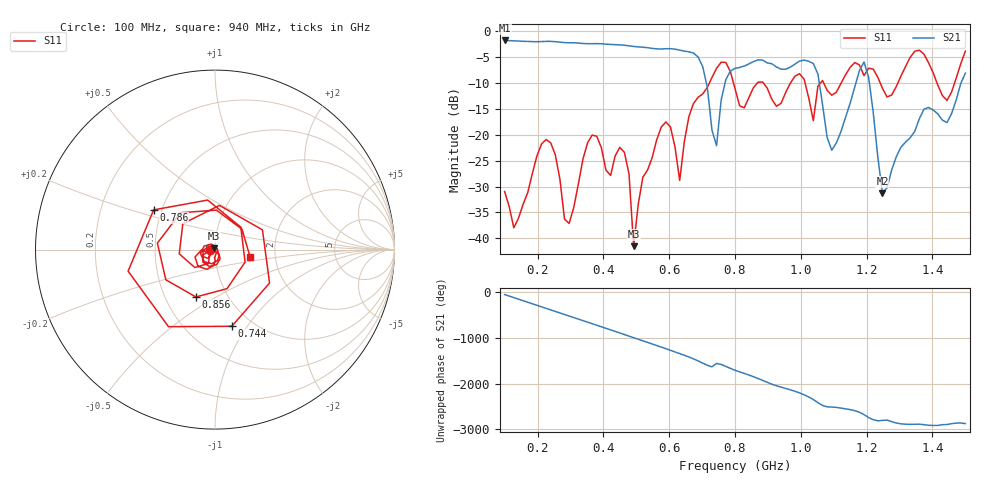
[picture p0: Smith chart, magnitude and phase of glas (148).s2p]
! NanoVNA-App
! Date: 2025-09-25 15:56:37
! Start: 100MHz Stop: 1,5GHz Points: 101
! S-Parameter data: F S11 S21 S12 S22
# Hz S RI R 50
!  Frequency  S11_Real  S11_Imag  S21_Real  S21_Imag  S12_Real  S12_Imag  S22_Real  S22_Imag
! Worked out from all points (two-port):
!   101 points, 100 MHz to 1.5 GHz, reference 50 ohm
!   highest |S21| = -1.80 dB at 100 MHz (marker M1); lowest = -31.3 dB at 1.248 GHz (marker M2)
!   |S21| within 3 dB of the highest: start of sweep to 684.3 MHz
!   lowest |S11| = -41.5 dB at 492 MHz (marker M3), VSWR 1.02, Z = 49.5 + j0.648 ohm
!   |S11| at or under -10 dB: start of sweep to 722.3 MHz; 795.4 MHz to 868.1 MHz (72.73 MHz wide, 8.74 % of centre); 886.1 MHz to 968.6 MHz (82.43 MHz wide, 8.89 % of centre) (the widest 3 of 7)
!   S12 and S22 are empty: the file has one direction only
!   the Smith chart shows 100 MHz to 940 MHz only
!   S11 on the Smith chart (normalised r, x): 100 MHz: 0.95, -0.01; 744 MHz: 0.81, -0.85; 786 MHz: 0.45, +0.24; 856 MHz: 0.71, -0.41; 940 MHz: 1.48, -0.14
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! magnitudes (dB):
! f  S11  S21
! 100 MHz  -31.0  -1.8
! 128 MHz  -38.0  -1.9
! 226 MHz  -20.9  -2.0
! 296 MHz  -37.1  -2.2
! 338 MHz  -24.7  -2.4
! 464 MHz  -23.4  -2.7
! 492 MHz  -41.5  -3.0
! 576 MHz  -18.5  -3.5
! 632 MHz  -28.8  -3.7
! 702 MHz  -12.1  -6.9
! 744 MHz  -7.2  -22.1
! 786 MHz  -7.8  -7.7
! 800 MHz  -11.1  -7.2
! 856 MHz  -10.9  -5.9
! 940 MHz  -13.9  -7.4
! 996 MHz  -8.2  -5.8
! 1.038 GHz  -17.3  -6.3
! 1.094 GHz  -12.4  -23.0
! 1.192 GHz  -8.6  -6.0
! 1.248 GHz  -11.0  -31.3
! 1.276 GHz  -12.3  -26.8
! 1.5 GHz  -3.9  -8.1
